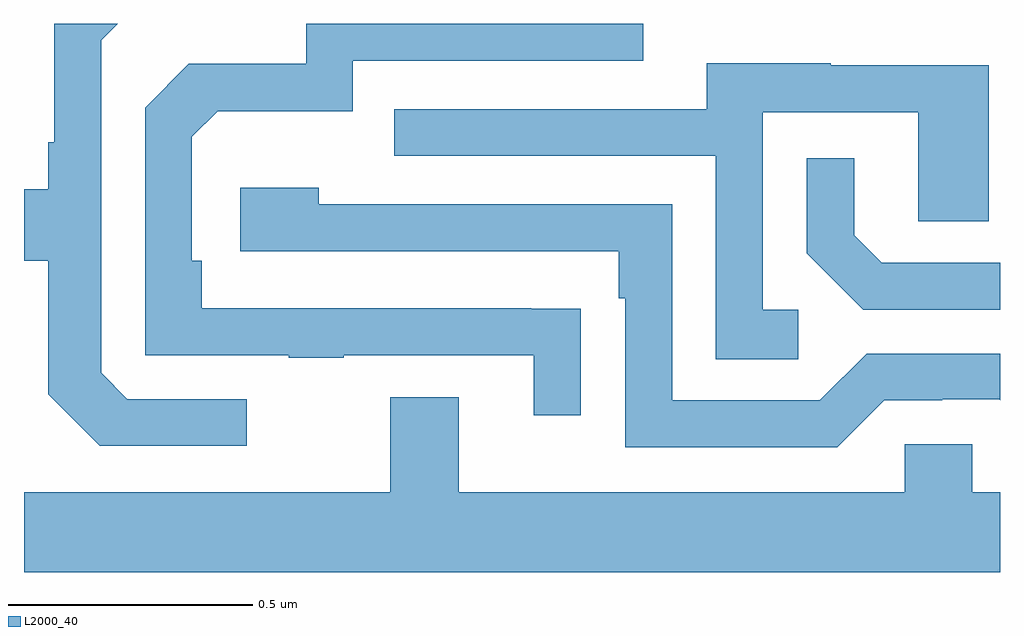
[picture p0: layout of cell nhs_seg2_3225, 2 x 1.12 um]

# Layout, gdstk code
import gdstk
lib = gdstk.Library(unit=1e-6, precision=1e-09)
def P(c, l, *ps):  # polygons
    for p in ps: c.add(gdstk.Polygon(p, *l))
L2000_40 = (2000, 40)

nhs_seg2_3225 = lib.new_cell('nhs_seg2_3225')
P(nhs_seg2_3225, L2000_40, [(151.456,608.031),(151.212,608.031),(151.158,608.085),(151.158,608.766),(151.192,608.8),(151.062,608.8),(151.062,608.557),(151.05,608.557),(151.05,608.461),(151,608.461),(151,608.314),(151.05,608.314),(151.05,608.041),(151.155,607.935),(151.456,607.935)],
  [(152.141,608.216),(152.039,608.216),(152.039,608.217),(151.364,608.217),(151.364,608.314),(151.344,608.314),(151.344,608.568),(151.397,608.621),(151.674,608.621),(151.674,608.724),(152.269,608.724),(152.269,608.8),(151.578,608.8),(151.578,608.718),(151.338,608.718),(151.248,608.628),(151.248,608.121),(151.543,608.121),(151.543,608.116),(151.655,608.116),(151.655,608.121),(152.045,608.121),(152.045,607.998),(152.141,607.998)],
  [(152.587,608.214),(152.514,608.214),(152.514,608.619),(152.832,608.619),(152.832,608.395),(152.977,608.395),(152.977,608.715),(152.653,608.715),(152.653,608.719),(152.399,608.719),(152.399,608.625),(151.759,608.625),(151.759,608.529),(152.418,608.529),(152.418,608.113),(152.587,608.113)],
  [(153,608.31),(152.758,608.31),(152.701,608.367),(152.701,608.524),(152.604,608.524),(152.604,608.33),(152.72,608.214),(153,608.214)],
  [(152.763,608.028),(152.882,608.028),(152.882,608.031),(152.997,608.031),(153,608.028),(153,608.124),(152.727,608.124),(152.631,608.028),(152.328,608.028),(152.328,608.43),(151.604,608.43),(151.604,608.464),(151.443,608.464),(151.443,608.334),(152.219,608.334),(152.219,608.237),(152.232,608.237),(152.232,607.932),(152.667,607.932)],
  [(153,607.84),(152.943,607.84),(152.943,607.938),(152.805,607.938),(152.805,607.84),(151.891,607.84),(151.891,608.035),(151.751,608.035),(151.751,607.84),(151,607.84),(151,607.676),(153,607.676)])

lib.write_gds('nhs_seg2_3225.gds')
